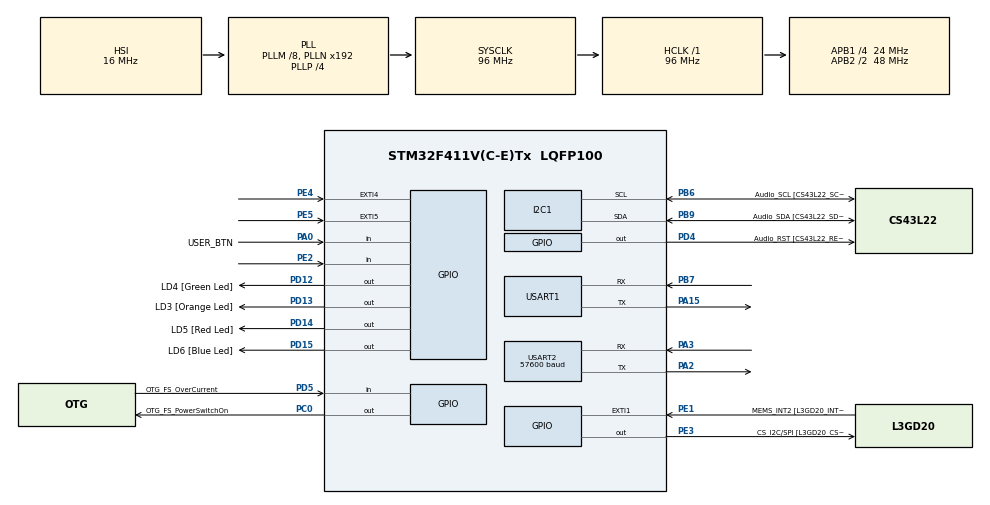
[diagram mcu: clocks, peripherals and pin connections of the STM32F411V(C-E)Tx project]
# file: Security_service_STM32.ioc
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I2C1.I2C_Mode=I2C_Fast
Mcu.Family=STM32F4
Mcu.Name=STM32F411V(C-E)Tx
Mcu.Package=LQFP100
NVIC.I2C1_ER_IRQn=true\:6\:0\:true\:false\:true\:true\:true\:true
NVIC.I2C1_EV_IRQn=true\:6\:0\:true\:false\:true\:true\:true\:true
NVIC.PriorityGroup=NVIC_PRIORITYGROUP_4
NVIC.TIM1_BRK_TIM9_IRQn=true\:15\:0\:false\:false\:true\:false\:true\:true
NVIC.TimeBase=TIM1_BRK_TIM9_IRQn
NVIC.TimeBaseIP=TIM9
NVIC.USART1_IRQn=true\:6\:0\:true\:false\:true\:true\:true\:true
NVIC.USART2_IRQn=true\:6\:0\:true\:false\:true\:true\:true\:true
PA0-WKUP.GPIO_Label=USER_BTN
PA0-WKUP.Signal=GPIO_Input
PA10.GPIO_Label=OTG_FS_ID
PA10.Signal=USB_OTG_FS_ID
PA11.GPIO_Label=OTG_FS_DM
PA11.Signal=USB_OTG_FS_DM
PA12.GPIO_Label=OTG_FS_DP
PA12.Signal=USB_OTG_FS_DP
PA13.GPIO_Label=SWDIO
PA13.Mode=Trace_Asynchronous_SW
PA13.Signal=SYS_JTMS-SWDIO
PA14.GPIO_Label=SWCLK
PA14.Mode=Trace_Asynchronous_SW
PA14.Signal=SYS_JTCK-SWCLK
PA15.Mode=Asynchronous
PA15.Signal=USART1_TX
PA2.Mode=Asynchronous
PA2.Signal=USART2_TX
PA3.Mode=Asynchronous
PA3.Signal=USART2_RX
PA4.GPIO_Label=I2S3_WS [CS43L22_LRCK]
PA4.GPIO_Mode=GPIO_MODE_AF_PP
PA4.GPIO_PuPd=GPIO_NOPULL
PA4.GPIO_Speed=GPIO_SPEED_FREQ_LOW
PA4.Signal=I2S3_WS
PA5.GPIO_Label=SPI1_SCK [L3GD20_SC/SPC]
PA5.Signal=SPI1_SCK
PA6.GPIO_Label=SPI1_MISO [L3GD20_AS0/SDO]
PA6.Signal=SPI1_MISO
PA7.GPIO_Label=SPI1_MOSI [L3GD20_SDA/SDI/SDO]
PA7.Signal=SPI1_MOSI
PA9.GPIO_Label=VBUS_FS
PA9.Signal=USB_OTG_FS_VBUS
PB10.GPIO_Label=CLK_IN [MP45DT02_CLK]
PB10.Signal=I2S2_CK
PB12.Signal=I2S2_WS
PB3.GPIO_Label=SWO
PB3.Mode=Trace_Asynchronous_SW
PB3.Signal=SYS_JTDO-SWO
PB6.GPIO_Label=Audio_SCL [CS43L22_SCL]
PB6.GPIO_Mode=GPIO_MODE_AF_OD
PB6.GPIO_PuPd=GPIO_NOPULL
PB6.GPIO_Speed=GPIO_SPEED_FREQ_LOW
PB6.Mode=I2C
PB6.Signal=I2C1_SCL
PB7.Mode=Asynchronous
PB7.Signal=USART1_RX
PB9.GPIO_Label=Audio_SDA [CS43L22_SDA]
PB9.GPIO_Mode=GPIO_MODE_AF_OD
PB9.GPIO_PuPd=GPIO_NOPULL
PB9.GPIO_Speed=GPIO_SPEED_FREQ_LOW
PB9.Mode=I2C
PB9.Signal=I2C1_SDA
PC0.GPIO_Label=OTG_FS_PowerSwitchOn
PC0.PinState=GPIO_PIN_SET
PC0.Signal=GPIO_Output
PC10.GPIO_Label=I2S3_SCK [CS43L22_SCLK]
PC10.GPIO_Mode=GPIO_MODE_AF_PP
PC10.GPIO_PuPd=GPIO_NOPULL
PC10.GPIO_Speed=GPIO_SPEED_FREQ_LOW
PC10.Signal=I2S3_CK
PC12.GPIO_Label=I2S3_SD [CS43L22_SDIN]
PC12.GPIO_Mode=GPIO_MODE_AF_PP
PC12.GPIO_PuPd=GPIO_NOPULL
PC12.GPIO_Speed=GPIO_SPEED_FREQ_LOW
PC12.Signal=I2S3_SD
PC14-OSC32_IN.GPIO_Label=PC14-OSC32_IN
PC14-OSC32_IN.Signal=RCC_OSC32_IN
PC15-OSC32_OUT.GPIO_Label=PC15-OSC32_OUT
PC15-OSC32_OUT.Signal=RCC_OSC32_OUT
PC3.GPIO_Label=PDM_OUT [MP45DT02_DOUT]
PC3.Signal=I2S2_SD
PC7.GPIO_Label=I2S3_MCK [CS43L22_MCLK]
PC7.GPIO_Mode=GPIO_MODE_AF_PP
PC7.GPIO_PuPd=GPIO_NOPULL
PC7.GPIO_Speed=GPIO_SPEED_FREQ_LOW
PC7.Signal=I2S3_MCK
PD12.GPIO_Label=LD4 [Green Led]
PD12.GPIO_PuPd=GPIO_NOPULL
PD12.GPIO_Speed=GPIO_SPEED_FREQ_LOW
PD12.Signal=GPIO_Output
PD13.GPIO_Label=LD3 [Orange Led]
PD13.GPIO_PuPd=GPIO_NOPULL
PD13.GPIO_Speed=GPIO_SPEED_FREQ_LOW
PD13.Signal=GPIO_Output
PD14.GPIO_Label=LD5 [Red Led]
PD14.GPIO_PuPd=GPIO_NOPULL
PD14.GPIO_Speed=GPIO_SPEED_FREQ_LOW
PD14.Signal=GPIO_Output
PD15.GPIO_Label=LD6 [Blue Led]
PD15.GPIO_PuPd=GPIO_NOPULL
PD15.GPIO_Speed=GPIO_SPEED_FREQ_LOW
PD15.Signal=GPIO_Output
PD4.GPIO_Label=Audio_RST [CS43L22_RESET]
PD4.Signal=GPIO_Output
PD5.GPIO_Label=OTG_FS_OverCurrent
PD5.Signal=GPIO_Input
PE1.GPIO_Label=MEMS_INT2 [L3GD20_INT2]
PE1.GPIO_ModeDefaultEXTI=GPIO_MODE_EVT_RISING
PE1.Signal=GPXTI1
PE2.Signal=GPIO_Input
PE3.GPIO_Label=CS_I2C/SPI [L3GD20_CS_I2C/SPI]
PE3.Signal=GPIO_Output
PE4.GPIO_ModeDefaultEXTI=GPIO_MODE_EVT_RISING
PE4.Signal=GPXTI4
PE5.GPIO_ModeDefaultEXTI=GPIO_MODE_EVT_RISING
PE5.Signal=GPXTI5
PH0\ -\ OSC_IN.GPIO_Label=PH0-OSC_IN
PH0\ -\ OSC_IN.Signal=RCC_OSC_IN
PH1\ -\ OSC_OUT.GPIO_Label=PH1-OSC_OUT
PH1\ -\ OSC_OUT.Signal=RCC_OSC_OUT
ProjectManager.HeapSize=0x200
ProjectManager.StackSize=0x400
ProjectManager.TargetToolchain=MDK-ARM V5.27
RCC.48MHZClocksFreq_Value=48000000
RCC.AHBFreq_Value=96000000
RCC.APB1CLKDivider=RCC_HCLK_DIV4
RCC.APB1Freq_Value=24000000
RCC.APB1TimFreq_Value=48000000
RCC.APB2CLKDivider=RCC_HCLK_DIV2
RCC.APB2Freq_Value=48000000
RCC.APB2TimFreq_Value=96000000
RCC.CortexFreq_Value=96000000
RCC.HCLKFreq_Value=96000000
RCC.HSE_VALUE=8000000
RCC.HSI_VALUE=16000000
RCC.LSE_VALUE=32768
RCC.PLLI2SM=5
RCC.PLLI2SN=200
RCC.PLLM=8
RCC.PLLP=RCC_PLLP_DIV4
RCC.PLLQ=8
RCC.SYSCLKFreq_VALUE=96000000
RCC.SYSCLKSource=RCC_SYSCLKSOURCE_PLLCLK
RCC.VCOOutputFreq_Value=384000000
USART1.VirtualMode=VM_ASYNC
USART2.BaudRate=57600
USART2.VirtualMode=VM_ASYNC
VP_SYS_VS_tim9.Mode=TIM9
board=STM32F411E-DISCO

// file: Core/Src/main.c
/* USER CODE BEGIN Header */
/**
 ******************************************************************************
 * @file           : main.c
 * @brief          : Main program body
 ******************************************************************************
 * @attention
 *
 * Copyright (c) 2026 STMicroelectronics.
 * All rights reserved.
 *
 * This software is licensed under terms that can be found in the LICENSE file
 * in the root directory of this software component.
 * If no LICENSE file comes with this software, it is provided AS-IS.
 *
 ******************************************************************************
 */
/* USER CODE END Header */
#include "main.h"

/* USER CODE BEGIN Includes */
// FreeRTOS System
#include "FreeRTOS.h"
#include "task.h"
#include "stdio.h"

// SEGGER System
#include "SEGGER_RTT.h"
#include "SEGGER_SYSVIEW.h"

// Task System
#include "Task_FingerPrint/task_uart_FingerPrint.h"
#include "Task_ParsingData/task_ParsingData.h"
#include "Task_Display/gui.h"
#include "Task_UserButton/task_userbutton.h"

// Others
#include "Comm_BBB/Comm_BBB.h"
/* USER CODE END Includes */

/* USER CODE BEGIN PM */
// Segger configurations
#define DWT_CTRL	(*(volatile uint32_t*)(0xE0001000))
#define SEGGER_SYSVIEW_DEBUG_ENABLE		(1)
/* USER CODE END PM */

I2C_HandleTypeDef hi2c1;

UART_HandleTypeDef huart1;
UART_HandleTypeDef huart2;

/* USER CODE BEGIN PV */
TaskHandle_t task1_handler, task2_handler;
TaskHandle_t task_FP_handler, task_PD_handler, task_Display_handler, task_UsetBtn_handler;
uint8_t UART1_rx_data;
uint8_t UART2_rx_data;
char msg[128];
/* USER CODE END PV */

void SystemClock_Config(void);
static void MX_GPIO_Init(void);
static void MX_USART2_UART_Init(void);
static void MX_I2C1_Init(void);
static void MX_USART1_UART_Init(void);
/* USER CODE BEGIN PFP */

void My_SEGGER_SYSVIEW_Conf(void);
/* USER CODE END PFP */

int main(void)
{

  /* USER CODE BEGIN 1 */
  // check HardFault error
  *((volatile uint32_t *)0xE000E008) |= (1 << 1);
  /* USER CODE END 1 */

  /* MCU Configuration--------------------------------------------------------*/

  /* Reset of all peripherals, Initializes the Flash interface and the Systick. */
  HAL_Init();

  /* Configure the system clock */
  SystemClock_Config();

  /* Initialize all configured peripherals */
  MX_GPIO_Init();
  MX_USART2_UART_Init();
  MX_I2C1_Init();
  MX_USART1_UART_Init();
  /* USER CODE BEGIN 2 */

  	/****************************** SEGGER AREA  ******************************/
	My_SEGGER_SYSVIEW_Conf();
	/****************************** SEGGER AREA  ******************************/

	/****************************** SYSTEM AREA  ******************************/
	vSetVarulMaxPRIGROUPValue();
	Init_UART1_FingerPrint();
	Init_UART2_FingerPrint();
	ClearAllDisplayState();
	/****************************** SYSTEM AREA  ******************************/
  	xTaskCreate(Button_Task,       				"Task_UB",  configMINIMAL_STACK_SIZE,   NULL,                 3,  &task_UsetBtn_handler);
	xTaskCreate(ParsingRXData_Task,       		"Task_PD",  configMINIMAL_STACK_SIZE,   NULL,                 3,  &task_PD_handler);
	xTaskCreate(Fingerprint_StateMachine_Task,  "Task_FP",   configMINIMAL_STACK_SIZE,   NULL,                 2,  &task_FP_handler);
	xTaskCreate(Display_Task,  				"Task_Display",   configMINIMAL_STACK_SIZE,   NULL,                 2,  &task_Display_handler);

#if (SEGGER_SYSVIEW_DEBUG_ENABLE == 1)
	SEGGER_SYSVIEW_Start();
#endif
	vTaskStartScheduler();
  /* USER CODE END 2 */

  /* Infinite loop */
	while (1)
	{

	}
}

void SystemClock_Config(void)
{
  RCC_OscInitTypeDef RCC_OscInitStruct = {0};
  RCC_ClkInitTypeDef RCC_ClkInitStruct = {0};

  /** Configure the main internal regulator output voltage
  */
  __HAL_RCC_PWR_CLK_ENABLE();
  __HAL_PWR_VOLTAGESCALING_CONFIG(PWR_REGULATOR_VOLTAGE_SCALE1);

  /** Initializes the RCC Oscillators according to the specified parameters
  * in the RCC_OscInitTypeDef structure.
  */
  RCC_OscInitStruct.OscillatorType = RCC_OSCILLATORTYPE_HSI;
  RCC_OscInitStruct.HSIState = RCC_HSI_ON;
  RCC_OscInitStruct.HSICalibrationValue = RCC_HSICALIBRATION_DEFAULT;
  RCC_OscInitStruct.PLL.PLLState = RCC_PLL_ON;
  RCC_OscInitStruct.PLL.PLLSource = RCC_PLLSOURCE_HSI;
  RCC_OscInitStruct.PLL.PLLM = 8;
  RCC_OscInitStruct.PLL.PLLN = 192;
  RCC_OscInitStruct.PLL.PLLP = RCC_PLLP_DIV4;
  RCC_OscInitStruct.PLL.PLLQ = 8;
  if (HAL_RCC_OscConfig(&RCC_OscInitStruct) != HAL_OK)
  {
    Error_Handler();
  }

  /** Initializes the CPU, AHB and APB buses clocks
  */
  RCC_ClkInitStruct.ClockType = RCC_CLOCKTYPE_HCLK|RCC_CLOCKTYPE_SYSCLK
                              |RCC_CLOCKTYPE_PCLK1|RCC_CLOCKTYPE_PCLK2;
  RCC_ClkInitStruct.SYSCLKSource = RCC_SYSCLKSOURCE_PLLCLK;
  RCC_ClkInitStruct.AHBCLKDivider = RCC_SYSCLK_DIV1;
  RCC_ClkInitStruct.APB1CLKDivider = RCC_HCLK_DIV4;
  RCC_ClkInitStruct.APB2CLKDivider = RCC_HCLK_DIV2;

  if (HAL_RCC_ClockConfig(&RCC_ClkInitStruct, FLASH_LATENCY_3) != HAL_OK)
  {
    Error_Handler();
  }
}

static void MX_I2C1_Init(void)
{

  hi2c1.Instance = I2C1;
  hi2c1.Init.ClockSpeed = 400000;
  hi2c1.Init.DutyCycle = I2C_DUTYCYCLE_2;
  hi2c1.Init.OwnAddress1 = 0;
  hi2c1.Init.AddressingMode = I2C_ADDRESSINGMODE_7BIT;
  hi2c1.Init.DualAddressMode = I2C_DUALADDRESS_DISABLE;
  hi2c1.Init.OwnAddress2 = 0;
  hi2c1.Init.GeneralCallMode = I2C_GENERALCALL_DISABLE;
  hi2c1.Init.NoStretchMode = I2C_NOSTRETCH_DISABLE;
  if (HAL_I2C_Init(&hi2c1) != HAL_OK)
  {
    Error_Handler();
  }

}

static void MX_USART1_UART_Init(void)
{

  huart1.Instance = USART1;
  huart1.Init.BaudRate = 115200;
  huart1.Init.WordLength = UART_WORDLENGTH_8B;
  huart1.Init.StopBits = UART_STOPBITS_1;
  huart1.Init.Parity = UART_PARITY_NONE;
  huart1.Init.Mode = UART_MODE_TX_RX;
  huart1.Init.HwFlowCtl = UART_HWCONTROL_NONE;
  huart1.Init.OverSampling = UART_OVERSAMPLING_16;
  if (HAL_UART_Init(&huart1) != HAL_OK)
  {
    Error_Handler();
  }

}

static void MX_USART2_UART_Init(void)
{

  huart2.Instance = USART2;
  huart2.Init.BaudRate = 57600;
  huart2.Init.WordLength = UART_WORDLENGTH_8B;
  huart2.Init.StopBits = UART_STOPBITS_1;
  huart2.Init.Parity = UART_PARITY_NONE;
  huart2.Init.Mode = UART_MODE_TX_RX;
  huart2.Init.HwFlowCtl = UART_HWCONTROL_NONE;
  huart2.Init.OverSampling = UART_OVERSAMPLING_16;
  if (HAL_UART_Init(&huart2) != HAL_OK)
  {
    Error_Handler();
  }

}

static void MX_GPIO_Init(void)
{
  GPIO_InitTypeDef GPIO_InitStruct = {0};

  /* GPIO Ports Clock Enable */
  __HAL_RCC_GPIOE_CLK_ENABLE();
  __HAL_RCC_GPIOC_CLK_ENABLE();
  __HAL_RCC_GPIOH_CLK_ENABLE();
  __HAL_RCC_GPIOA_CLK_ENABLE();
  __HAL_RCC_GPIOB_CLK_ENABLE();
  __HAL_RCC_GPIOD_CLK_ENABLE();

  /*Configure GPIO pin Output Level */
  HAL_GPIO_WritePin(CS_I2C_SPI_GPIO_Port, CS_I2C_SPI_Pin, GPIO_PIN_RESET);

  /*Configure GPIO pin Output Level */
  HAL_GPIO_WritePin(OTG_FS_PowerSwitchOn_GPIO_Port, OTG_FS_PowerSwitchOn_Pin, GPIO_PIN_SET);

  /*Configure GPIO pin Output Level */
  HAL_GPIO_WritePin(GPIOD, LD4_Pin|LD3_Pin|LD5_Pin|LD6_Pin
                          |Audio_RST_Pin, GPIO_PIN_RESET);

  /*Configure GPIO pin : PE2 */
  GPIO_InitStruct.Pin = GPIO_PIN_2;
  GPIO_InitStruct.Mode = GPIO_MODE_INPUT;
  GPIO_InitStruct.Pull = GPIO_NOPULL;
  HAL_GPIO_Init(GPIOE, &GPIO_InitStruct);

  /*Configure GPIO pin : CS_I2C_SPI_Pin */
  GPIO_InitStruct.Pin = CS_I2C_SPI_Pin;
  GPIO_InitStruct.Mode = GPIO_MODE_OUTPUT_PP;
  GPIO_InitStruct.Pull = GPIO_NOPULL;
  GPIO_InitStruct.Speed = GPIO_SPEED_FREQ_LOW;
  HAL_GPIO_Init(CS_I2C_SPI_GPIO_Port, &GPIO_InitStruct);

  /*Configure GPIO pins : PE4 PE5 MEMS_INT2_Pin */
  GPIO_InitStruct.Pin = GPIO_PIN_4|GPIO_PIN_5|MEMS_INT2_Pin;
  GPIO_InitStruct.Mode = GPIO_MODE_EVT_RISING;
  GPIO_InitStruct.Pull = GPIO_NOPULL;
  HAL_GPIO_Init(GPIOE, &GPIO_InitStruct);

  /*Configure GPIO pin : OTG_FS_PowerSwitchOn_Pin */
  GPIO_InitStruct.Pin = OTG_FS_PowerSwitchOn_Pin;
  GPIO_InitStruct.Mode = GPIO_MODE_OUTPUT_PP;
  GPIO_InitStruct.Pull = GPIO_NOPULL;
  GPIO_InitStruct.Speed = GPIO_SPEED_FREQ_LOW;
  HAL_GPIO_Init(OTG_FS_PowerSwitchOn_GPIO_Port, &GPIO_InitStruct);

  /*Configure GPIO pin : PDM_OUT_Pin */
  GPIO_InitStruct.Pin = PDM_OUT_Pin;
  GPIO_InitStruct.Mode = GPIO_MODE_AF_PP;
  GPIO_InitStruct.Pull = GPIO_NOPULL;
  GPIO_InitStruct.Speed = GPIO_SPEED_FREQ_LOW;
  GPIO_InitStruct.Alternate = GPIO_AF5_SPI2;
  HAL_GPIO_Init(PDM_OUT_GPIO_Port, &GPIO_InitStruct);

  /*Configure GPIO pin : USER_BTN_Pin */
  GPIO_InitStruct.Pin = USER_BTN_Pin;
  GPIO_InitStruct.Mode = GPIO_MODE_INPUT;
  GPIO_InitStruct.Pull = GPIO_NOPULL;
  HAL_GPIO_Init(USER_BTN_GPIO_Port, &GPIO_InitStruct);

  /*Configure GPIO pin : I2S3_WS_Pin */
  GPIO_InitStruct.Pin = I2S3_WS_Pin;
  GPIO_InitStruct.Mode = GPIO_MODE_AF_PP;
  GPIO_InitStruct.Pull = GPIO_NOPULL;
  GPIO_InitStruct.Speed = GPIO_SPEED_FREQ_LOW;
  GPIO_InitStruct.Alternate = GPIO_AF6_SPI3;
  HAL_GPIO_Init(I2S3_WS_GPIO_Port, &GPIO_InitStruct);

  /*Configure GPIO pins : SPI1_SCK_Pin SPI1_MISO_Pin SPI1_MOSI_Pin */
  GPIO_InitStruct.Pin = SPI1_SCK_Pin|SPI1_MISO_Pin|SPI1_MOSI_Pin;
  GPIO_InitStruct.Mode = GPIO_MODE_AF_PP;
  GPIO_InitStruct.Pull = GPIO_NOPULL;
  GPIO_InitStruct.Speed = GPIO_SPEED_FREQ_VERY_HIGH;
  GPIO_InitStruct.Alternate = GPIO_AF5_SPI1;
  HAL_GPIO_Init(GPIOA, &GPIO_InitStruct);

  /*Configure GPIO pins : CLK_IN_Pin PB12 */
  GPIO_InitStruct.Pin = CLK_IN_Pin|GPIO_PIN_12;
  GPIO_InitStruct.Mode = GPIO_MODE_AF_PP;
  GPIO_InitStruct.Pull = GPIO_NOPULL;
  GPIO_InitStruct.Speed = GPIO_SPEED_FREQ_LOW;
  GPIO_InitStruct.Alternate = GPIO_AF5_SPI2;
  HAL_GPIO_Init(GPIOB, &GPIO_InitStruct);

  /*Configure GPIO pins : LD4_Pin LD3_Pin LD5_Pin LD6_Pin
                           Audio_RST_Pin */
  GPIO_InitStruct.Pin = LD4_Pin|LD3_Pin|LD5_Pin|LD6_Pin
                          |Audio_RST_Pin;
  GPIO_InitStruct.Mode = GPIO_MODE_OUTPUT_PP;
  GPIO_InitStruct.Pull = GPIO_NOPULL;
  GPIO_InitStruct.Speed = GPIO_SPEED_FREQ_LOW;
  HAL_GPIO_Init(GPIOD, &GPIO_InitStruct);

  /*Configure GPIO pins : I2S3_MCK_Pin I2S3_SCK_Pin I2S3_SD_Pin */
  GPIO_InitStruct.Pin = I2S3_MCK_Pin|I2S3_SCK_Pin|I2S3_SD_Pin;
  GPIO_InitStruct.Mode = GPIO_MODE_AF_PP;
  GPIO_InitStruct.Pull = GPIO_NOPULL;
  GPIO_InitStruct.Speed = GPIO_SPEED_FREQ_LOW;
  GPIO_InitStruct.Alternate = GPIO_AF6_SPI3;
  HAL_GPIO_Init(GPIOC, &GPIO_InitStruct);

  /*Configure GPIO pin : VBUS_FS_Pin */
  GPIO_InitStruct.Pin = VBUS_FS_Pin;
  GPIO_InitStruct.Mode = GPIO_MODE_INPUT;
  GPIO_InitStruct.Pull = GPIO_NOPULL;
  HAL_GPIO_Init(VBUS_FS_GPIO_Port, &GPIO_InitStruct);

  /*Configure GPIO pins : OTG_FS_ID_Pin OTG_FS_DM_Pin OTG_FS_DP_Pin */
  GPIO_InitStruct.Pin = OTG_FS_ID_Pin|OTG_FS_DM_Pin|OTG_FS_DP_Pin;
  GPIO_InitStruct.Mode = GPIO_MODE_AF_PP;
  GPIO_InitStruct.Pull = GPIO_NOPULL;
  GPIO_InitStruct.Speed = GPIO_SPEED_FREQ_VERY_HIGH;
  GPIO_InitStruct.Alternate = GPIO_AF10_OTG_FS;
  HAL_GPIO_Init(GPIOA, &GPIO_InitStruct);

  /*Configure GPIO pin : OTG_FS_OverCurrent_Pin */
  GPIO_InitStruct.Pin = OTG_FS_OverCurrent_Pin;
  GPIO_InitStruct.Mode = GPIO_MODE_INPUT;
  GPIO_InitStruct.Pull = GPIO_NOPULL;
  HAL_GPIO_Init(OTG_FS_OverCurrent_GPIO_Port, &GPIO_InitStruct);

}

/* USER CODE BEGIN 4 */
int _write(int file, char *ptr, int len) {
	// Send to BBB
	HAL_UART_Transmit_IT(&huart1, (uint8_t *)ptr, len);
	// Debug on RTT Viewer (Terminal 0)
	SEGGER_RTT_WriteString(0, ptr);
    return len;
}

void HAL_UART_TxCpltCallback(UART_HandleTypeDef *huart)
{
	if (huart->Instance == USART2)	// FingerPrint
	{
		// For debugging
		// sprintf(msg, "[My Debug] Send FingerPrint TX data done!\n");
		// SEGGER_SYSVIEW_PrintfTarget(msg);
	}
	else if (huart->Instance == USART1)	// BBB
	{
		// For debugging
		// sprintf(msg, "[My Debug] Send BBB TX data done!\n");
		// SEGGER_SYSVIEW_PrintfTarget(msg);
	}
}

void HAL_UART_RxCpltCallback(UART_HandleTypeDef *huart)
{
	if (huart->Instance == USART1)
	{
		BBB_UART_RxCpltCallback(UART1_rx_data);

		/* enable interrupt for the next byte */
		HAL_UART_Receive_IT(&huart1, &UART1_rx_data, 1);
	}

    if (huart->Instance == USART2)
	{
		// if (huart->ErrorCode & HAL_UART_ERROR_ORE)
		// {
        //     // Xóa cờ lỗi ORE bằng cách đọc thanh ghi SR (hoặc ISR) và DR (hoặc RDR)
        //     // (Thư viện HAL thường đã tự xử lý việc xóa cờ trong hàm IRQHandler,
        //     // ta chỉ cần kích hoạt lại ngắt nhận)

        //     // Xóa cờ lỗi của HAL
        //     huart->ErrorCode = HAL_UART_ERROR_NONE;

        //     // Kích hoạt lại ngắt nhận byte mới để không bị "tịt"
        //     HAL_UART_Receive_IT(&huart2, &UART2_rx_data, 1);
		// 	return;
    	// }

		FingerPrint_UART_RxCallback(UART2_rx_data);
      	// enable interrupt for the next time
      	HAL_UART_Receive_IT(&huart2, &UART2_rx_data, 1);
    }
}

void HAL_I2C_MasterTxCpltCallback(I2C_HandleTypeDef *hi2c)
{
	if (hi2c->Instance == I2C1)
	{
		BaseType_t xHigherPriorityTaskWoken = pdFALSE;
		xTaskNotifyFromISR(task_Display_handler, TX_I2C_TASK_NOTIFY_BIT, eSetBits, &xHigherPriorityTaskWoken);
		portYIELD_FROM_ISR(xHigherPriorityTaskWoken);
	}
}

void HAL_I2C_ErrorCallback(I2C_HandleTypeDef *hi2c) {
    if (hi2c->Instance == I2C1)
	{
		BaseType_t xHigherPriorityTaskWoken = pdFALSE;
		xTaskNotifyFromISR(task_Display_handler, TX_I2C_TASK_NOTIFY_BIT, eSetBits, &xHigherPriorityTaskWoken);
		portYIELD_FROM_ISR(xHigherPriorityTaskWoken);
	}
}

void vApplicationStackOverflowHook( TaskHandle_t xTask, char *pcTaskName )
{
    /*
     * Nếu CPU nhảy vào hàm này, nghĩa là Task có tên nằm trong biến
     * 'pcTaskName' vừa bị tràn Stack.
     */

    /* Tắt toàn bộ ngắt hệ thống để ngăn chặn thảm họa lan rộng */
    taskDISABLE_INTERRUPTS();

    for( ;; )
    {
        // Blink LED to warning User
    }
}

void My_SEGGER_SYSVIEW_Conf(void)
{
#if (SEGGER_SYSVIEW_DEBUG_ENABLE == 1)
	DWT_CTRL |= (1 << 0);
	SEGGER_SYSVIEW_Conf();

    // Debug RTT Viewer
    SEGGER_RTT_WriteString(0, "System Initialized Successfully!\n");
#endif
}
/* USER CODE END 4 */

void HAL_TIM_PeriodElapsedCallback(TIM_HandleTypeDef *htim)
{
  if (htim->Instance == TIM9)
  {
    HAL_IncTick();
  }
}

void Error_Handler(void)
{
	__disable_irq();
	while (1) {
	}
}
